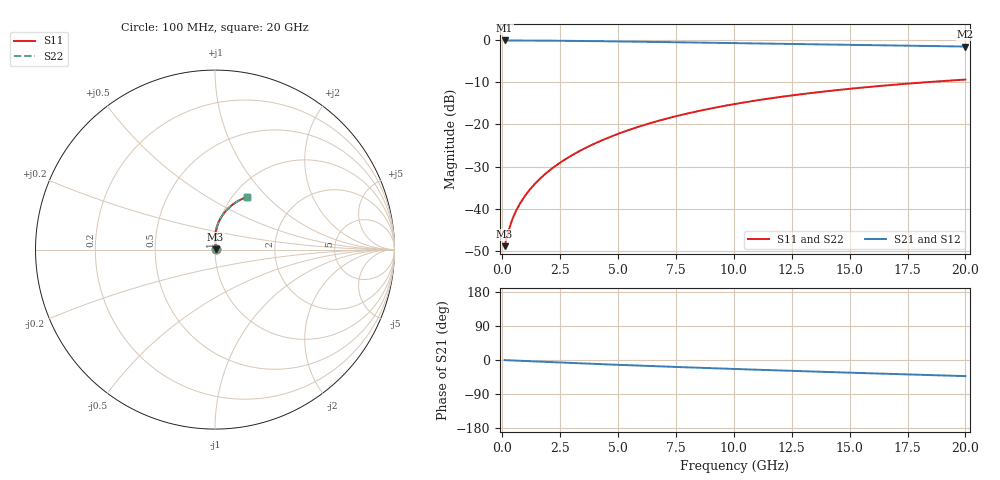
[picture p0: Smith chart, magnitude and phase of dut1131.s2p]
! Touchstone file exported from HFSS 2024.1.0
!  File:  C:/UserFiles/LocalFiles/RDL_TSV_Batchsim/temp_RDL_top_1131_1780047421.aedt
!  Generated:  05:39:13 PM May 29, 2026
!  Design:  RDL_top
!  Project:  temp_RDL_top_1131_1780047421
!  Setup:  Setup1
!  Solution:  Sweep
! Variables:
!  dtsv = 10.80580581um
!  hbump = 3um
!  htsv = 79.17um
!  ldown = 100um
!  lrdl = 600.81um
!  p = 40
!  p1 = 56.73um
!  rhole = 1um
!  t = 450um
!  tdown = 3.915915916um
!  trdl = 2.5um
!  wdown = 15.38538539um
!  wrdl = 29.83um
# GHz S MA R 50.000000
! Terminal data exported
! Port[1] = Box2_T1
! Port[2] = Box2_T2
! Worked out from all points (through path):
!   200 points, 100 MHz to 20 GHz, reference 50 ohm
!   highest |S21| = -0.03 dB at 100 MHz (marker M1); lowest = -1.5 dB at 20 GHz (marker M2)
!   group delay of S21, straight-line fit = 5.83 ps
!   lowest |S11| = -48.9 dB at 100 MHz (marker M3), VSWR 1.01, Z = 50.3 + j0.162 ohm
!   |S11| at or under -10 dB: start of sweep to 18.2 GHz
!   |S22| runs from -48.9 to -9.3 dB; largest |S21 - S12| = 5.5e-15
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0.1  0.003581 26.7  0.9968 -0.3  0.9968 -0.3  0.003581 26.7
! Gamma 0 0 0 0
! Port Impedance 50 0 50 0
0.3  0.005793 52.7  0.9963 -0.8  0.9963 -0.8  0.005793 52.7
0.4  0.00702 58.5  0.9961 -1.1  0.9961 -1.1  0.00702 58.5
0.5  0.00824 62.7  0.9958 -1.4  0.9958 -1.4  0.008241 62.7
0.6  0.009457 66.0  0.9955 -1.6  0.9955 -1.6  0.009458 65.9
0.8  0.01191 70.9  0.995 -2.2  0.995 -2.2  0.01191 70.9
1  0.01441 74.5  0.9945 -2.7  0.9945 -2.7  0.01441 74.5
1.2  0.01698 77.3  0.9939 -3.2  0.9939 -3.2  0.01698 77.3
1.7  0.02368 82.0  0.9921 -4.5  0.9921 -4.5  0.02368 82.0
2.2  0.03078 84.9  0.9899 -5.8  0.9899 -5.8  0.03078 84.9
2.8  0.03982 87.1  0.9866 -7.3  0.9866 -7.3  0.03982 87.1
3.5  0.05107 88.5  0.9821 -9.1  0.9821 -9.1  0.05106 88.5
4.2  0.06301 89.0  0.9771 -10.8  0.9771 -10.8  0.063 89.0
5  0.07738 88.8  0.9708 -12.7  0.9708 -12.7  0.07737 88.8
5.9  0.09426 88.0  0.9633 -14.8  0.9633 -14.8  0.09425 88.0
6.8  0.1116 86.7  0.9555 -16.8  0.9555 -16.8  0.1116 86.7
8.4  0.1431 83.7  0.9415 -20.3  0.9415 -20.3  0.1431 83.7
10.1  0.1763 80.0  0.9267 -23.8  0.9267 -23.8  0.1763 80.0
11.7  0.2068 76.4  0.9129 -27.1  0.9129 -27.1  0.2067 76.4
13.4  0.2378 72.6  0.8983 -30.4  0.8983 -30.4  0.2377 72.6
16.7  0.2932 65.5  0.8707 -36.6  0.8707 -36.6  0.2932 65.5
20  0.3419 58.8  0.8438 -42.5  0.8438 -42.5  0.3418 58.8
